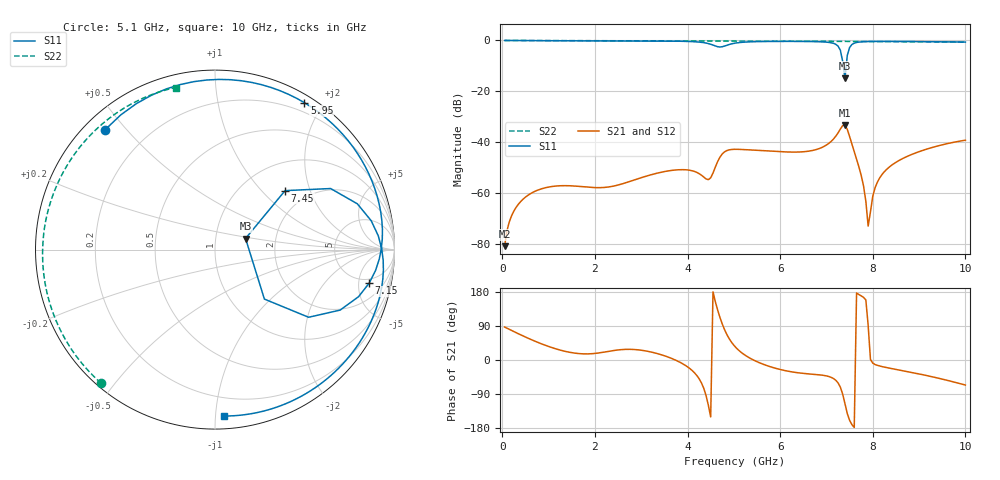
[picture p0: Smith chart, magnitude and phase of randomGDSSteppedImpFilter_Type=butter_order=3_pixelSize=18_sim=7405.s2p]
! freq	dB(S11)	phase(S11)	dB(S12)	phase(S12)
!  dB(S21)	phase(S21)	dB(S22)	phase(S22)
!S-par simulation data
#  GHz  S  DB  R 50
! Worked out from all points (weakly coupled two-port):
!   200 points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, 50 MHz to 10 GHz, reference 50 ohm
!   highest |S21| = -33.26 dB at 7.4 GHz (marker M1); lowest = -80.8 dB at 50 MHz (marker M2)
!   lowest |S11| = -14.8 dB at 7.4 GHz (marker M3), VSWR 1.44, Z = 69.8 + j8.92 ohm
!   |S11| at or under -10 dB: 7.364 GHz to 7.427 GHz (63.31 MHz wide, 0.856 % of centre)
!   |S22| runs from -0.6 to 0.0 dB; largest |S21 - S12| = 0
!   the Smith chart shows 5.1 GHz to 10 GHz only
!   S11 on the Smith chart (normalised r, x): 5.1 GHz: 0.06, +0.44; 5.95 GHz: 0.09, +1.78; 7.15 GHz: 4.15, -6.83; 7.45 GHz: 1.54, +1.37; 10 GHz: 0.08, -1.05
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0.05  -0.00 -4.7  -80.83 87.0  -80.83 87.0  -0.00 -1.4
0.55  -0.07 -49.9  -60.88 57.8  -60.88 57.8  -0.02 -15.6
1.75  -0.13 -138.5  -57.49 16.2  -57.49 16.2  -0.06 -48.6
2.55  -0.16 175.2  -56.56 27.2  -56.56 27.2  -0.09 -69.6
3.4  -0.22 127.5  -51.91 15.1  -51.91 15.1  -0.12 -90.8
4.15  -0.49 68.9  -51.47 -33.7  -51.47 -33.7  -0.15 -108.6
4.5  -1.50 0.0  -53.96 -150.3  -53.96 -150.3  -0.16 -116.8
4.7  -2.57 -92.9  -45.85 112.3  -45.85 112.3  -0.17 -121.4
4.85  -1.88 -165.0  -43.26 67.0  -43.26 67.0  -0.18 -124.8
5.05  -0.98 141.2  -42.76 32.2  -42.76 32.2  -0.19 -129.3
5.1  -0.86 132.5  -42.78 26.2  -42.78 26.2  -0.19 -130.5
5.95  -0.37 58.6  -43.66 -23.5  -43.66 -23.5  -0.25 -149.7
6.7  -0.43 18.2  -43.23 -37.5  -43.23 -37.5  -0.30 -166.8
7.15  -1.12 -12.3  -38.76 -48.8  -38.76 -48.8  -0.34 -177.3
7.3  -3.83 -35.9  -34.82 -71.6  -34.82 -71.6  -0.36 179.2
7.4  -14.85 20.0  -33.26 -115.7  -33.26 -115.7  -0.36 176.8
7.45  -5.85 40.1  -34.96 -141.3  -34.96 -141.3  -0.37 175.6
7.8  -0.49 -7.0  -57.10 165.3  -57.10 165.3  -0.40 166.9
7.9  -0.42 -12.8  -72.96 91.8  -72.96 91.8  -0.41 164.4
8.05  -0.39 -20.3  -57.86 -11.9  -57.86 -11.9  -0.42 160.6
8.35  -0.38 -32.8  -49.84 -21.2  -49.84 -21.2  -0.45 152.8
10  -0.64 -87.1  -39.19 -66.1  -39.19 -66.1  -0.64 103.7
